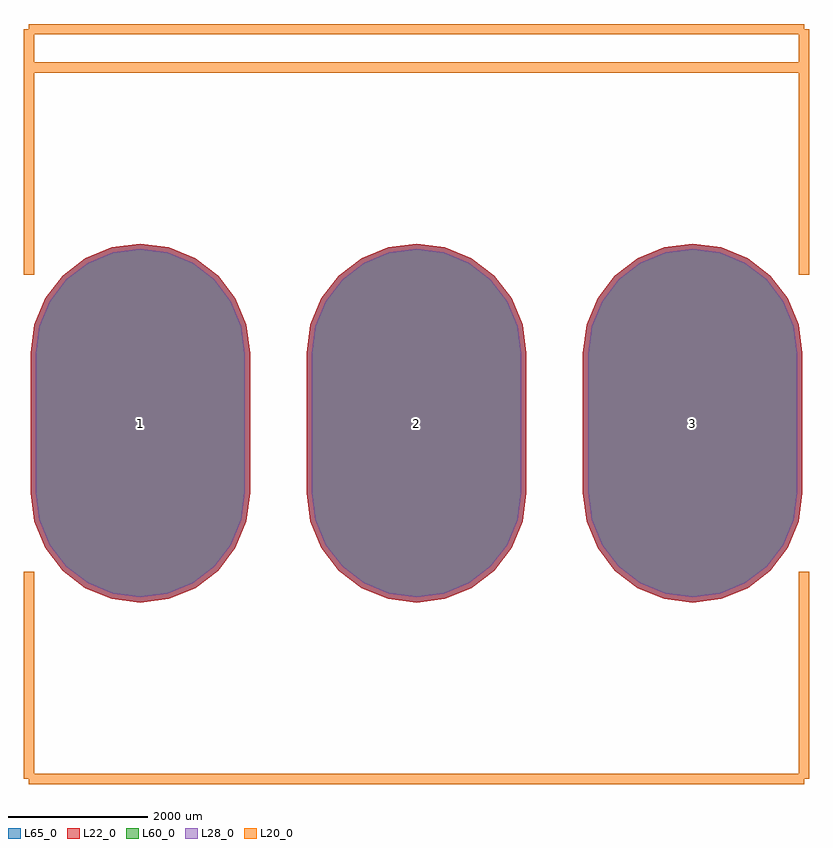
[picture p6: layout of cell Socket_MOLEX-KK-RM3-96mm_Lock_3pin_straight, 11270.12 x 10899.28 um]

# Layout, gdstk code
import gdstk
lib = gdstk.Library(unit=1e-6, precision=1e-09)
def P(c, l, *ps):  # polygons
    for p in ps: c.add(gdstk.Polygon(p, *l))
L20_0 = (20, 0)
L22_0 = (22, 0)
L28_0 = (28, 0)
L60_0 = (60, 0)
L65_0 = (65, 0)

socket_molex_kk_rm3_96mm = lib.new_cell('Socket_MOLEX-KK-RM3-96mm_Lock_3pin_straight')
P(socket_molex_kk_rm3_96mm, L22_0, [(3959.86,-2575.63),(4367.466,-2521.968),(4747.295,-2364.637),(5073.461,-2114.361),(5323.737,-1788.195),(5481.068,-1408.366),(5534.73,-1000.76),(5534.73,1000.76),(5481.068,1408.366),(5323.737,1788.195),(5073.461,2114.361),(4747.295,2364.637),(4367.466,2521.968),(3959.86,2575.63),(3552.254,2521.968),(3172.425,2364.637),(2846.259,2114.361),(2595.983,1788.195),(2438.652,1408.366),(2384.99,1000.76),(2384.99,-1000.76),(2438.652,-1408.366),(2595.983,-1788.195),(2846.259,-2114.361),(3172.425,-2364.637),(3552.254,-2521.968)],
  [(0,-2575.63),(407.606,-2521.968),(787.435,-2364.637),(1113.601,-2114.361),(1363.877,-1788.195),(1521.208,-1408.366),(1574.87,-1000.76),(1574.87,1000.76),(1521.208,1408.366),(1363.877,1788.195),(1113.601,2114.361),(787.435,2364.637),(407.606,2521.968),(0,2575.63),(-407.606,2521.968),(-787.435,2364.637),(-1113.601,2114.361),(-1363.877,1788.195),(-1521.208,1408.366),(-1574.87,1000.76),(-1574.87,-1000.76),(-1521.208,-1408.366),(-1363.877,-1788.195),(-1113.601,-2114.361),(-787.435,-2364.637),(-407.606,-2521.968)],
  [(-3959.86,-2575.63),(-3552.254,-2521.968),(-3172.425,-2364.637),(-2846.259,-2114.361),(-2595.983,-1788.195),(-2438.652,-1408.366),(-2384.99,-1000.76),(-2384.99,1000.76),(-2438.652,1408.366),(-2595.983,1788.195),(-2846.259,2114.361),(-3172.425,2364.637),(-3552.254,2521.968),(-3959.86,2575.63),(-4367.466,2521.968),(-4747.295,2364.637),(-5073.461,2114.361),(-5323.737,1788.195),(-5481.068,1408.366),(-5534.73,1000.76),(-5534.73,-1000.76),(-5481.068,-1408.366),(-5323.737,-1788.195),(-5073.461,-2114.361),(-4747.295,-2364.637),(-4367.466,-2521.968)])
P(socket_molex_kk_rm3_96mm, L28_0, [(3959.86,-2500.63),(4348.055,-2449.523),(4709.795,-2299.686),(5020.428,-2061.328),(5258.786,-1750.695),(5408.623,-1388.955),(5459.73,-1000.76),(5459.73,1000.76),(5408.623,1388.955),(5258.786,1750.695),(5020.428,2061.328),(4709.795,2299.686),(4348.055,2449.523),(3959.86,2500.63),(3571.665,2449.523),(3209.925,2299.686),(2899.292,2061.328),(2660.934,1750.695),(2511.097,1388.955),(2459.99,1000.76),(2459.99,-1000.76),(2511.097,-1388.955),(2660.934,-1750.695),(2899.292,-2061.328),(3209.925,-2299.686),(3571.665,-2449.523)],
  [(0,-2500.63),(388.195,-2449.523),(749.935,-2299.686),(1060.568,-2061.328),(1298.926,-1750.695),(1448.763,-1388.955),(1499.87,-1000.76),(1499.87,1000.76),(1448.763,1388.955),(1298.926,1750.695),(1060.568,2061.328),(749.935,2299.686),(388.195,2449.523),(0,2500.63),(-388.195,2449.523),(-749.935,2299.686),(-1060.568,2061.328),(-1298.926,1750.695),(-1448.763,1388.955),(-1499.87,1000.76),(-1499.87,-1000.76),(-1448.763,-1388.955),(-1298.926,-1750.695),(-1060.568,-2061.328),(-749.935,-2299.686),(-388.195,-2449.523)],
  [(-3959.86,-2500.63),(-3571.665,-2449.523),(-3209.925,-2299.686),(-2899.292,-2061.328),(-2660.934,-1750.695),(-2511.097,-1388.955),(-2459.99,-1000.76),(-2459.99,1000.76),(-2511.097,1388.955),(-2660.934,1750.695),(-2899.292,2061.328),(-3209.925,2299.686),(-3571.665,2449.523),(-3959.86,2500.63),(-4348.055,2449.523),(-4709.795,2299.686),(-5020.428,2061.328),(-5258.786,1750.695),(-5408.623,1388.955),(-5459.73,1000.76),(-5459.73,-1000.76),(-5408.623,-1388.955),(-5258.786,-1750.695),(-5020.428,-2061.328),(-4709.795,-2299.686),(-4348.055,-2449.523)])
P(socket_molex_kk_rm3_96mm, L60_0, [(3959.86,-2500.63),(4348.055,-2449.523),(4709.795,-2299.686),(5020.428,-2061.328),(5258.786,-1750.695),(5408.623,-1388.955),(5459.73,-1000.76),(5459.73,1000.76),(5408.623,1388.955),(5258.786,1750.695),(5020.428,2061.328),(4709.795,2299.686),(4348.055,2449.523),(3959.86,2500.63),(3571.665,2449.523),(3209.925,2299.686),(2899.292,2061.328),(2660.934,1750.695),(2511.097,1388.955),(2459.99,1000.76),(2459.99,-1000.76),(2511.097,-1388.955),(2660.934,-1750.695),(2899.292,-2061.328),(3209.925,-2299.686),(3571.665,-2449.523)],
  [(0,-2500.63),(388.195,-2449.523),(749.935,-2299.686),(1060.568,-2061.328),(1298.926,-1750.695),(1448.763,-1388.955),(1499.87,-1000.76),(1499.87,1000.76),(1448.763,1388.955),(1298.926,1750.695),(1060.568,2061.328),(749.935,2299.686),(388.195,2449.523),(0,2500.63),(-388.195,2449.523),(-749.935,2299.686),(-1060.568,2061.328),(-1298.926,1750.695),(-1448.763,1388.955),(-1499.87,1000.76),(-1499.87,-1000.76),(-1448.763,-1388.955),(-1298.926,-1750.695),(-1060.568,-2061.328),(-749.935,-2299.686),(-388.195,-2449.523)],
  [(-3959.86,-2500.63),(-3571.665,-2449.523),(-3209.925,-2299.686),(-2899.292,-2061.328),(-2660.934,-1750.695),(-2511.097,-1388.955),(-2459.99,-1000.76),(-2459.99,1000.76),(-2511.097,1388.955),(-2660.934,1750.695),(-2899.292,2061.328),(-3209.925,2299.686),(-3571.665,2449.523),(-3959.86,2500.63),(-4348.055,2449.523),(-4709.795,2299.686),(-5020.428,2061.328),(-5258.786,1750.695),(-5408.623,1388.955),(-5459.73,1000.76),(-5459.73,-1000.76),(-5408.623,-1388.955),(-5258.786,-1750.695),(-5020.428,-2061.328),(-4709.795,-2299.686),(-4348.055,-2449.523)])
P(socket_molex_kk_rm3_96mm, L65_0, [(3959.86,-2575.63),(4367.466,-2521.968),(4747.295,-2364.637),(5073.461,-2114.361),(5323.737,-1788.195),(5481.068,-1408.366),(5534.73,-1000.76),(5534.73,1000.76),(5481.068,1408.366),(5323.737,1788.195),(5073.461,2114.361),(4747.295,2364.637),(4367.466,2521.968),(3959.86,2575.63),(3552.254,2521.968),(3172.425,2364.637),(2846.259,2114.361),(2595.983,1788.195),(2438.652,1408.366),(2384.99,1000.76),(2384.99,-1000.76),(2438.652,-1408.366),(2595.983,-1788.195),(2846.259,-2114.361),(3172.425,-2364.637),(3552.254,-2521.968)],
  [(0,-2575.63),(407.606,-2521.968),(787.435,-2364.637),(1113.601,-2114.361),(1363.877,-1788.195),(1521.208,-1408.366),(1574.87,-1000.76),(1574.87,1000.76),(1521.208,1408.366),(1363.877,1788.195),(1113.601,2114.361),(787.435,2364.637),(407.606,2521.968),(0,2575.63),(-407.606,2521.968),(-787.435,2364.637),(-1113.601,2114.361),(-1363.877,1788.195),(-1521.208,1408.366),(-1574.87,1000.76),(-1574.87,-1000.76),(-1521.208,-1408.366),(-1363.877,-1788.195),(-1113.601,-2114.361),(-787.435,-2364.637),(-407.606,-2521.968)],
  [(-3959.86,-2575.63),(-3552.254,-2521.968),(-3172.425,-2364.637),(-2846.259,-2114.361),(-2595.983,-1788.195),(-2438.652,-1408.366),(-2384.99,-1000.76),(-2384.99,1000.76),(-2438.652,1408.366),(-2595.983,1788.195),(-2846.259,2114.361),(-3172.425,2364.637),(-3552.254,2521.968),(-3959.86,2575.63),(-4367.466,2521.968),(-4747.295,2364.637),(-5073.461,2114.361),(-5323.737,1788.195),(-5481.068,1408.366),(-5534.73,1000.76),(-5534.73,-1000.76),(-5481.068,-1408.366),(-5323.737,-1788.195),(-5073.461,-2114.361),(-4747.295,-2364.637),(-4367.466,-2521.968)])
socket_molex_kk_rm3_96mm.add(gdstk.FlexPath([(5560.06,-5100.32),(5560.06,-2131.06)], 149.998, ends="flush", simple_path=True, layer=20, datatype=0))  # L20_0
socket_molex_kk_rm3_96mm.add(gdstk.FlexPath([(0,-5100.32),(5560.06,-5100.32)], 149.998, ends="flush", simple_path=True, layer=20, datatype=0))  # L20_0
socket_molex_kk_rm3_96mm.add(gdstk.FlexPath([(-5560.06,5100.32),(-5560.06,2131.06)], 149.998, ends="flush", simple_path=True, layer=20, datatype=0))  # L20_0
socket_molex_kk_rm3_96mm.add(gdstk.FlexPath([(5560.06,5100.32),(-5560.06,5100.32)], 149.998, ends="flush", simple_path=True, layer=20, datatype=0))  # L20_0
socket_molex_kk_rm3_96mm.add(gdstk.FlexPath([(5560.06,2131.06),(5560.06,5100.32)], 149.998, ends="flush", simple_path=True, layer=20, datatype=0))  # L20_0
socket_molex_kk_rm3_96mm.add(gdstk.FlexPath([(-5560.06,-5100.32),(0,-5100.32)], 149.998, ends="flush", simple_path=True, layer=20, datatype=0))  # L20_0
socket_molex_kk_rm3_96mm.add(gdstk.FlexPath([(-5560.06,-2131.06),(-5560.06,-5100.32)], 149.998, ends="flush", simple_path=True, layer=20, datatype=0))  # L20_0
socket_molex_kk_rm3_96mm.add(gdstk.FlexPath([(5560.06,5648.96),(-5560.06,5648.96)], 149.998, ends="flush", simple_path=True, layer=20, datatype=0))  # L20_0
socket_molex_kk_rm3_96mm.add(gdstk.FlexPath([(5560.06,5100.32),(5560.06,5648.96)], 149.998, ends="flush", simple_path=True, layer=20, datatype=0))  # L20_0
socket_molex_kk_rm3_96mm.add(gdstk.FlexPath([(-5560.06,5648.96),(-5560.06,5100.32)], 149.998, ends="flush", simple_path=True, layer=20, datatype=0))  # L20_0
socket_molex_kk_rm3_96mm.add(gdstk.Label('3', (3959.86,0), layer=28, texttype=0))
socket_molex_kk_rm3_96mm.add(gdstk.Label('2', (0,0), layer=28, texttype=0))
socket_molex_kk_rm3_96mm.add(gdstk.Label('1', (-3959.86,0), layer=28, texttype=0))
socket_molex_kk_rm3_96mm.add(gdstk.Label('type', (0,-7620), layer=9, texttype=0))
socket_molex_kk_rm3_96mm.add(gdstk.Label('devicename', (0,7620), layer=9, texttype=0))

lib.write_gds('Socket_MOLEX-KK-RM3-96mm_Lock_3pin_straight.gds')
